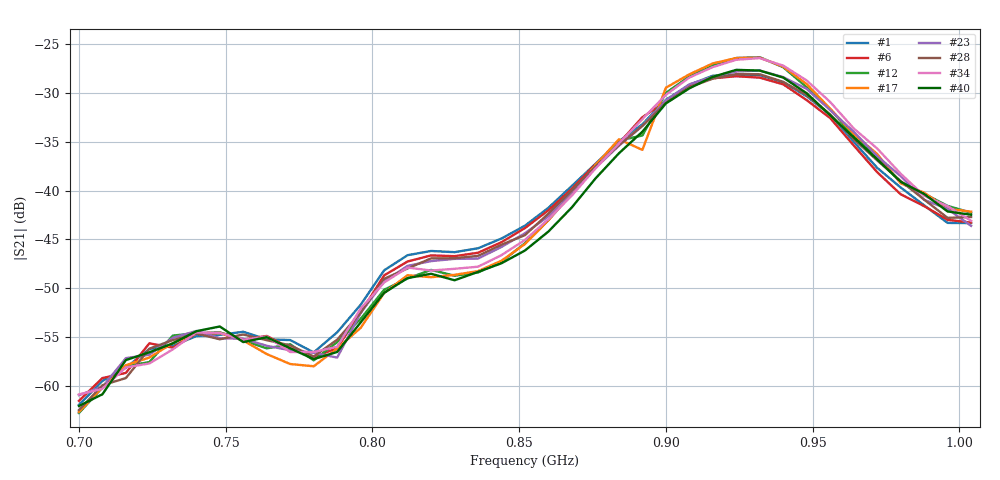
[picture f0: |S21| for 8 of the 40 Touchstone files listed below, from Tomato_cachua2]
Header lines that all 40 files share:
# Hz S RI R 50
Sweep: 700 MHz to 1.004 GHz
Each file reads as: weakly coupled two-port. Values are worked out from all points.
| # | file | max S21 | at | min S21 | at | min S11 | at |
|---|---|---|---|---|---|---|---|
| 1 | cachua1.s2p | -28.11 dB | 924 MHz | -62.0 dB | 700 MHz | -16.3 dB | 932 MHz |
| 2 | cachua2.s2p | -28.57 dB | 924 MHz | -62.7 dB | 700 MHz | -17.8 dB | 932 MHz |
| 3 | cachua3.s2p | -28.32 dB | 924 MHz | -61.9 dB | 700 MHz | -17.1 dB | 932 MHz |
| 4 | cachua4.s2p | -28.31 dB | 924 MHz | -61.5 dB | 700 MHz | -18.1 dB | 932 MHz |
| 5 | cachua5.s2p | -28.24 dB | 924 MHz | -62.3 dB | 700 MHz | -18.2 dB | 932 MHz |
| 6 | cachua6.s2p | -28.26 dB | 924 MHz | -61.6 dB | 700 MHz | -17.8 dB | 932 MHz |
| 7 | cachua7.s2p | -27.63 dB | 924 MHz | -62.0 dB | 700 MHz | -17.3 dB | 932 MHz |
| 8 | cachua8.s2p | -27.36 dB | 924 MHz | -62.1 dB | 700 MHz | -16.9 dB | 932 MHz |
| 9 | cachua9.s2p | -27.51 dB | 924 MHz | -61.5 dB | 700 MHz | -17.2 dB | 932 MHz |
| 10 | cachua10.s2p | -27.45 dB | 924 MHz | -61.8 dB | 700 MHz | -17.3 dB | 932 MHz |
| 11 | cachua11.s2p | -26.39 dB | 932 MHz | -61.8 dB | 700 MHz | -17.2 dB | 932 MHz |
| 12 | cachua12.s2p | -26.31 dB | 932 MHz | -62.8 dB | 700 MHz | -17.6 dB | 932 MHz |
| 13 | cachua13.s2p | -26.58 dB | 924 MHz | -62.8 dB | 700 MHz | -17.6 dB | 932 MHz |
| 14 | cachua14.s2p | -26.13 dB | 932 MHz | -62.0 dB | 708 MHz | -17.3 dB | 932 MHz |
| 15 | cachua15.s2p | -26.19 dB | 932 MHz | -61.8 dB | 700 MHz | -17.3 dB | 932 MHz |
| 16 | cachua16.s2p | -26.31 dB | 924 MHz | -62.0 dB | 700 MHz | -17.7 dB | 932 MHz |
| 17 | cachua17.s2p | -26.36 dB | 932 MHz | -62.7 dB | 700 MHz | -18.4 dB | 932 MHz |
| 18 | cachua18.s2p | -26.25 dB | 932 MHz | -62.6 dB | 700 MHz | -18.1 dB | 932 MHz |
| 19 | cachua19.s2p | -26.36 dB | 932 MHz | -64.0 dB | 700 MHz | -17.9 dB | 932 MHz |
| 20 | cachua20.s2p | -26.46 dB | 924 MHz | -64.8 dB | 700 MHz | -19.1 dB | 932 MHz |
| 21 | cachua21.s2p | -27.87 dB | 932 MHz | -62.6 dB | 700 MHz | -17.9 dB | 932 MHz |
| 22 | cachua22.s2p | -27.61 dB | 932 MHz | -62.0 dB | 700 MHz | -17.3 dB | 932 MHz |
| 23 | cachua23.s2p | -27.68 dB | 932 MHz | -61.0 dB | 700 MHz | -17.8 dB | 932 MHz |
| 24 | cachua24.s2p | -27.56 dB | 932 MHz | -62.9 dB | 700 MHz | -16.9 dB | 932 MHz |
| 25 | cachua25.s2p | -27.87 dB | 932 MHz | -62.4 dB | 700 MHz | -17.4 dB | 932 MHz |
| 26 | cachua26.s2p | -28.11 dB | 924 MHz | -61.5 dB | 700 MHz | -16.9 dB | 932 MHz |
| 27 | cachua27.s2p | -28.15 dB | 924 MHz | -62.5 dB | 700 MHz | -16.7 dB | 932 MHz |
| 28 | cachua28.s2p | -28.05 dB | 924 MHz | -62.5 dB | 700 MHz | -16.9 dB | 932 MHz |
| 29 | cachua29.s2p | -27.95 dB | 924 MHz | -63.0 dB | 700 MHz | -17.0 dB | 932 MHz |
| 30 | cachua30.s2p | -27.92 dB | 932 MHz | -62.8 dB | 700 MHz | -18.0 dB | 932 MHz |
| 31 | cachua31.s2p | -26.57 dB | 932 MHz | -61.8 dB | 700 MHz | -18.9 dB | 932 MHz |
| 32 | cachua32.s2p | -26.64 dB | 932 MHz | -63.2 dB | 700 MHz | -18.5 dB | 932 MHz |
| 33 | cachua33.s2p | -26.45 dB | 932 MHz | -62.2 dB | 700 MHz | -18.8 dB | 932 MHz |
| 34 | cachua34.s2p | -26.40 dB | 932 MHz | -60.9 dB | 700 MHz | -18.2 dB | 932 MHz |
| 35 | cachua35.s2p | -26.44 dB | 932 MHz | -62.0 dB | 700 MHz | -18.2 dB | 932 MHz |
| 36 | cachua36.s2p | -26.43 dB | 932 MHz | -63.0 dB | 700 MHz | -17.6 dB | 932 MHz |
| 37 | cachua37.s2p | -26.60 dB | 932 MHz | -63.1 dB | 700 MHz | -18.2 dB | 932 MHz |
| 38 | cachua38.s2p | -26.51 dB | 932 MHz | -63.5 dB | 700 MHz | -17.7 dB | 932 MHz |
| 39 | cachua39.s2p | -26.93 dB | 932 MHz | -63.4 dB | 700 MHz | -17.6 dB | 932 MHz |
| 40 | cachua40.s2p | -27.61 dB | 924 MHz | -62.1 dB | 700 MHz | -17.0 dB | 932 MHz |
